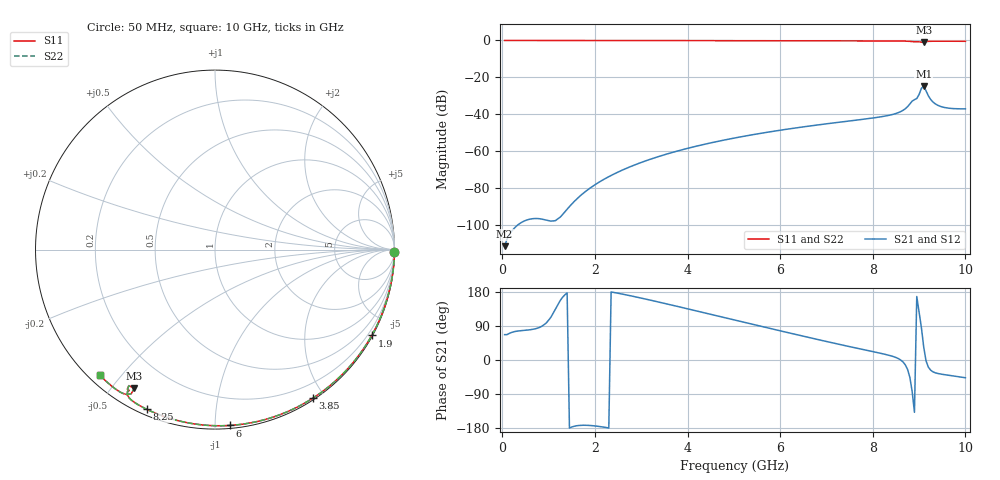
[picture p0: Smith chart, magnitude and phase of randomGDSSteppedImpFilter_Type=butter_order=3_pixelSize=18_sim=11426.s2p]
! freq	dB(S11)	phase(S11)	dB(S12)	phase(S12)
!  dB(S21)	phase(S21)	dB(S22)	phase(S22)
!S-par simulation data
#  GHz  S  DB  R 50
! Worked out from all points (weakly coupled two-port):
!   200 points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, 50 MHz to 10 GHz, reference 50 ohm
!   highest |S21| = -24.79 dB at 9.1 GHz (marker M1); lowest = -111.7 dB at 50 MHz (marker M2)
!   lowest |S11| = -1.0 dB at 9.1 GHz (marker M3), VSWR 17.97, Z = 3.7 - j28.6 ohm
!   |S11| at or under -10 dB: nowhere
!   |S22| runs from -1.0 to 0.0 dB; largest |S21 - S12| = 0
!   S11 on the Smith chart (normalised r, x): 50 MHz: open; 1.9 GHz: 0.03, -3.91; 3.85 GHz: 0.02, -1.85; 6 GHz: 0.02, -1.09; 8.25 GHz: 0.02, -0.66; 10 GHz: 0.03, -0.44
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0.05  -0.00 -0.8  -111.72 66.9  -111.72 66.9  -0.00 -0.8
1.75  -0.03 -26.5  -82.95 -172.2  -82.95 -172.2  -0.03 -26.5
1.9  -0.04 -28.7  -80.09 -172.8  -80.09 -172.8  -0.04 -28.7
2.55  -0.05 -38.2  -70.87 175.0  -70.87 175.0  -0.05 -38.2
3.4  -0.07 -50.4  -62.84 152.3  -62.84 152.3  -0.07 -50.4
3.85  -0.08 -56.7  -59.58 139.5  -59.58 139.5  -0.08 -56.7
5.05  -0.11 -72.9  -52.81 104.5  -52.81 104.5  -0.11 -73.0
6  -0.15 -85.3  -48.75 77.0  -48.75 77.0  -0.15 -85.3
6.7  -0.18 -94.1  -46.24 57.2  -46.24 57.2  -0.18 -94.1
8.25  -0.29 -113.1  -41.14 15.5  -41.14 15.5  -0.29 -113.1
8.35  -0.30 -114.3  -40.66 12.5  -40.66 12.5  -0.30 -114.3
8.55  -0.32 -117.0  -39.22 3.9  -39.22 3.9  -0.32 -117.0
8.7  -0.37 -119.3  -37.13 -12.3  -37.13 -12.3  -0.37 -119.3
8.85  -0.64 -121.7  -32.94 -82.6  -32.94 -82.6  -0.64 -121.7
8.95  -0.71 -121.4  -31.52 167.6  -31.52 167.6  -0.72 -121.3
9  -0.74 -122.1  -29.34 125.9  -29.34 125.9  -0.74 -122.1
9.05  -0.94 -122.4  -26.01 85.5  -26.01 85.5  -0.94 -122.3
9.1  -0.97 -120.2  -24.79 34.4  -24.79 34.4  -0.96 -120.2
9.25  -0.44 -122.4  -32.03 -26.9  -32.03 -26.9  -0.44 -122.4
9.4  -0.41 -124.8  -35.17 -35.5  -35.17 -35.5  -0.41 -124.8
9.65  -0.42 -128.1  -36.81 -40.4  -36.81 -40.4  -0.42 -128.1
10  -0.45 -132.4  -37.15 -46.8  -37.15 -46.8  -0.45 -132.4
